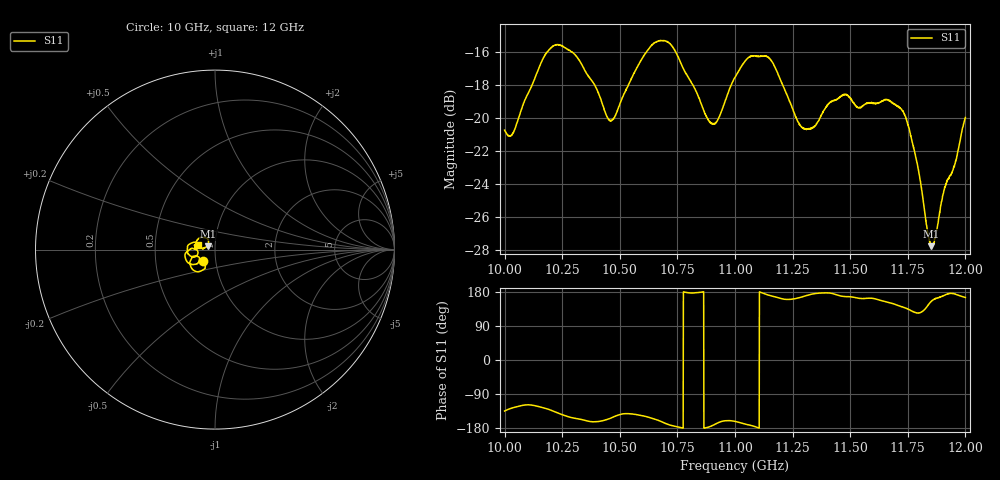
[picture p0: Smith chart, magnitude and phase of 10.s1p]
[Version] 2.0
! Rohde & Schwarz Vector Network Analyzer
! Rohde-Schwarz,ZNL20-2Port,1323001220200009,1.71.1.10-23.02.1.238
! Port Assignments:
! Nominal Port -> Actual Test Port
!  1 -> 1
! Created: GMT 2024-08-27 13:52:45
# Hz S DB R 50
[Number of Ports] 1
! freq[Hz]  S11[mag dB]  S11[ang]
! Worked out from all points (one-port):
!   2001 points, 10 GHz to 12 GHz, reference 50 ohm
!   lowest |S11| = -27.8 dB at 11.85 GHz (marker M1), VSWR 1.09, Z = 46.4 + j1.67 ohm
!   |S11| at or under -10 dB: start of sweep to end of sweep
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[Number of Frequencies] 28
[Network Data]
1e10  -20.73 -134.8
1.0038e10  -20.87 -125.7
1.0178e10  -16.12 -127.6
1.025e10  -15.64 -144.3
1.0325e10  -16.52 -156.1
1.0453e10  -20.11 -155.2
1.05e10  -19.15 -143.9
1.0644e10  -15.52 -154.4
1.0704e10  -15.38 -168.8
1.075e10  -16.20 -176.3
1.0901e10  -20.32 -173.0
1.1e10  -17.54 -162.0
1.1061e10  -16.31 -171.7
1.1141e10  -16.29 171.9
1.125e10  -19.42 160.6
1.132e10  -20.63 171.9
1.1414e10  -19.03 176.4
1.15e10  -18.78 166.9
1.1537e10  -19.37 163.0
1.1667e10  -18.94 152.1
1.175e10  -20.40 134.2
1.1792e10  -22.84 123.7
1.1835e10  -26.81 142.4
1.1851e10  -27.75 154.0
1.1867e10  -27.30 160.8
1.1906e10  -24.43 170.2
1.1952e10  -22.94 174.6
1.2e10  -19.96 165.0
[End]
